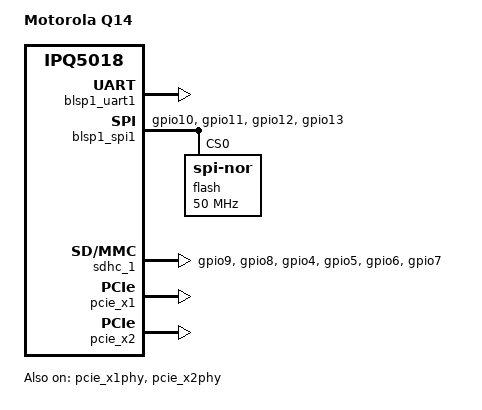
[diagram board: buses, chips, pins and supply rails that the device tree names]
// SPDX-License-Identifier: GPL-2.0+ OR BSD-3-Clause
/*
 * Motorola Q14
 *
 */

/dts-v1/;

#include "ipq5018.dtsi"

/ {
	model = "Motorola Q14";
	compatible = "motorola,q14", "qcom,ipq5018";

	aliases {
		serial0 = &blsp1_uart1;
	};

	chosen {
		stdout-path = "serial0:115200n8";
	};
};

&uart1_pins {
	pins = "gpio20", "gpio21";
	function = "blsp0_uart0";
};

&blsp1_uart1 {
	status = "okay";

	pinctrl-0 = <&uart1_pins>;
	pinctrl-names = "default";
};

&sleep_clk {
	clock-frequency = <32000>;
};

&xo_board_clk {
	clock-frequency = <24000000>;
};

&tlmm {
	spi_0_pins: spi-0-state {
		pins = "gpio10", "gpio11", "gpio12", "gpio13";
		function = "blsp0_spi";
		drive-strength = <2>;
		bias-disable;
	};

	emmc_pins: emmc-state {
		clk-pins {
			pins = "gpio9";
			function = "sdc1_clk";
			drive-strength = <8>;
			bias-disable;
		};

		cmd-pins {
			pins = "gpio8";
			function = "sdc1_cmd";
			drive-strength = <8>;
			bias-pull-up;
		};

		data-pins {
			pins = "gpio4", "gpio5", "gpio6", "gpio7";
			function = "sdc1_data";
			drive-strength = <8>;
			bias-disable;
		};
	};
};

&blsp1_spi1 {
	status = "okay";

	pinctrl-0 = <&spi_0_pins>;
	pinctrl-names = "default";

	flash@0 {
		#address-cells = <1>;
		#size-cells = <1>;
		reg = <0>;
		compatible = "jedec,spi-nor";
		spi-max-frequency = <50000000>;
	};
};

&sdhc_1 {
	status = "okay";

	pinctrl-0 = <&emmc_pins>;
	pinctrl-names = "default";
};

&pcie_x1phy {
	status = "okay";
};

&pcie_x2phy {
	status = "okay";
};

&pcie_x1 {
	status = "okay";

	perst-gpios = <&tlmm 18 GPIO_ACTIVE_LOW>;
};

&pcie_x2 {
	status = "okay";

	perst-gpios = <&tlmm 15 GPIO_ACTIVE_LOW>;
};
